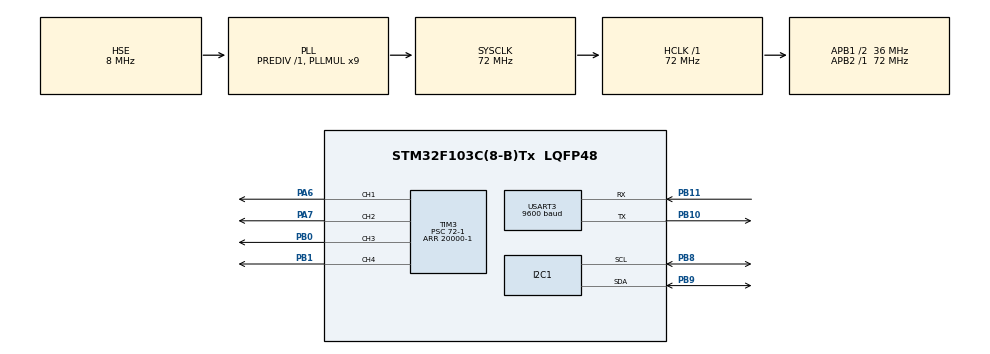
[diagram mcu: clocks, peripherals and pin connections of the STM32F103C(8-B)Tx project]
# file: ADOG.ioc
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Dma.Request0=USART3_TX
Dma.Request1=USART3_RX
Dma.USART3_RX.1.Direction=DMA_PERIPH_TO_MEMORY
Dma.USART3_RX.1.Instance=DMA1_Channel3
Dma.USART3_RX.1.MemDataAlignment=DMA_MDATAALIGN_BYTE
Dma.USART3_RX.1.MemInc=DMA_MINC_ENABLE
Dma.USART3_RX.1.Mode=DMA_NORMAL
Dma.USART3_RX.1.PeriphDataAlignment=DMA_PDATAALIGN_BYTE
Dma.USART3_RX.1.PeriphInc=DMA_PINC_DISABLE
Dma.USART3_RX.1.Priority=DMA_PRIORITY_LOW
Dma.USART3_TX.0.Direction=DMA_MEMORY_TO_PERIPH
Dma.USART3_TX.0.Instance=DMA1_Channel2
Dma.USART3_TX.0.MemDataAlignment=DMA_MDATAALIGN_BYTE
Dma.USART3_TX.0.MemInc=DMA_MINC_ENABLE
Dma.USART3_TX.0.Mode=DMA_NORMAL
Dma.USART3_TX.0.PeriphDataAlignment=DMA_PDATAALIGN_BYTE
Dma.USART3_TX.0.PeriphInc=DMA_PINC_DISABLE
Dma.USART3_TX.0.Priority=DMA_PRIORITY_LOW
I2C1.I2C_Mode=I2C_Fast
Mcu.Family=STM32F1
Mcu.Name=STM32F103C(8-B)Tx
Mcu.Package=LQFP48
NVIC.DMA1_Channel2_IRQn=true\:0\:0\:false\:false\:true\:false\:true\:true
NVIC.DMA1_Channel3_IRQn=true\:0\:0\:false\:false\:true\:false\:true\:true
NVIC.PriorityGroup=NVIC_PRIORITYGROUP_4
NVIC.USART3_IRQn=true\:0\:0\:false\:false\:true\:true\:true\:true
PA13.Mode=Serial_Wire
PA13.Signal=SYS_JTMS-SWDIO
PA14.Mode=Serial_Wire
PA14.Signal=SYS_JTCK-SWCLK
PA6.Signal=S_TIM3_CH1
PA7.Signal=S_TIM3_CH2
PB0.Signal=S_TIM3_CH3
PB1.Signal=S_TIM3_CH4
PB10.Mode=Asynchronous
PB10.Signal=USART3_TX
PB11.Mode=Asynchronous
PB11.Signal=USART3_RX
PB8.Mode=I2C
PB8.Signal=I2C1_SCL
PB9.Mode=I2C
PB9.Signal=I2C1_SDA
PD0-OSC_IN.Mode=HSE-External-Oscillator
PD0-OSC_IN.Signal=RCC_OSC_IN
PD1-OSC_OUT.Mode=HSE-External-Oscillator
PD1-OSC_OUT.Signal=RCC_OSC_OUT
ProjectManager.HeapSize=0x200
ProjectManager.StackSize=0x400
ProjectManager.TargetToolchain=STM32CubeIDE
RCC.AHBFreq_Value=72000000
RCC.APB1CLKDivider=RCC_HCLK_DIV2
RCC.APB1Freq_Value=36000000
RCC.APB1TimFreq_Value=72000000
RCC.APB2Freq_Value=72000000
RCC.APB2TimFreq_Value=72000000
RCC.HCLKFreq_Value=72000000
RCC.PLLMUL=RCC_PLL_MUL9
RCC.PLLSourceVirtual=RCC_PLLSOURCE_HSE
RCC.SYSCLKFreq_VALUE=72000000
RCC.SYSCLKSource=RCC_SYSCLKSOURCE_PLLCLK
RCC.USBFreq_Value=72000000
SH.S_TIM3_CH1.0=TIM3_CH1,PWM Generation1 CH1
SH.S_TIM3_CH2.0=TIM3_CH2,PWM Generation2 CH2
SH.S_TIM3_CH3.0=TIM3_CH3,PWM Generation3 CH3
SH.S_TIM3_CH4.0=TIM3_CH4,PWM Generation4 CH4
TIM3.Channel-PWM\ Generation1\ CH1=TIM_CHANNEL_1
TIM3.Channel-PWM\ Generation2\ CH2=TIM_CHANNEL_2
TIM3.Channel-PWM\ Generation3\ CH3=TIM_CHANNEL_3
TIM3.Channel-PWM\ Generation4\ CH4=TIM_CHANNEL_4
TIM3.Period=20000-1
TIM3.Prescaler=72-1
TIM3.Pulse-PWM\ Generation1\ CH1=0
USART3.BaudRate=9600
USART3.VirtualMode=VM_ASYNC
VP_TIM3_VS_ClockSourceINT.Mode=Internal
VP_TIM4_VS_OPM.Mode=OPM_bit
board=custom

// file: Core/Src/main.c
/* USER CODE BEGIN Header */
/**
 ******************************************************************************
 * @file           : main.c
 * @brief          : Main program body
 ******************************************************************************
 * @attention
 *
 * Copyright (c) 2022 STMicroelectronics.
 * All rights reserved.
 *
 * This software is licensed under terms that can be found in the LICENSE file
 * in the root directory of this software component.
 * If no LICENSE file comes with this software, it is provided AS-IS.
 *
 ******************************************************************************
 */
/* USER CODE END Header */
#include "main.h"
#include "dma.h"
#include "i2c.h"
#include "tim.h"
#include "usart.h"
#include "gpio.h"

/* USER CODE BEGIN Includes */
#include "string.h"
#include "oled.h"
#include "OLED_Data.h"
#include "stdio.h"
#include "Movement.h"
#include "Servo.h"
#include "PWM_HAL.h"
#include "Serial_HAL.h"
#include "LED.h"
#include "OLED_Data.h"
#include "mode.h"
#include "Timer_HAL.h"
#include "Hongwai.h"
#include "usart2_hal.h"
#include "usart_hal.h"
#include "UltrasonicWave.h"
#include "syn6288.h"
#include "stdlib.h"
/* USER CODE END Includes */

/* USER CODE BEGIN PTD */

	  uint8_t RxData;			//串口接收数据临时存储变量
	  uint8_t move_mode1 = '0';//遥控器串口接收的模式变量
	  uint8_t move_mode3 = '0';//语音识别串口接收的模式变量
	  uint8_t move_mode = '0';//当前状态模式变量
	  uint8_t previous_mode = '0';//当前模式的上一个模式变量
	   uint16_t T=100; // 超声波距离 距离值对应10cm(单位厘米)
	  uint16_t bz_flag;//避障标志位 ON/OFF 默认为off
	  uint16_t hw_flag;//红外检测标志位 ON/OFF 默认为off
	  int happiness; //快乐指数
	  int stamina;  //体力值
	  uint8_t t1=0 ; //存储红外检测结果 前
	  uint8_t t2=0 ; //存储红外检测结果 后
	  uint8_t t3=0 ; //存储红外检测结果 左
	  uint8_t t4=0 ; //存储红外检测结果 右
	  uint16_t ff=0; //前进前腿摆动角度
	  uint16_t bb=0; //前进后腿摆动角度
	  uint16_t ll=0; //左转摆动角度
	  uint16_t rr=0; //右转摆动角度
/* USER CODE END PTD */

/* USER CODE BEGIN PV */
// 不需要在这里为每个图像定义结构体了，已经在OLED_Data.h中声明好了
/* USER CODE END PV */

void SystemClock_Config(void);

int main(void)
{

  /* MCU Configuration--------------------------------------------------------*/

  /* Reset of all peripherals, Initializes the Flash interface and the Systick. */
  HAL_Init();

  /* Configure the system clock */
  SystemClock_Config();

  /* Initialize all configured peripherals */
  MX_GPIO_Init();
  MX_DMA_Init();
  MX_I2C1_Init();
  MX_TIM3_Init();
  MX_TIM4_Init();
  MX_USART3_UART_Init();
  /* USER CODE BEGIN 2 */
  HAL_TIM_PWM_Start(&htim3,TIM_CHANNEL_1);
  HAL_TIM_PWM_Start(&htim3,TIM_CHANNEL_2);
  HAL_TIM_PWM_Start(&htim3,TIM_CHANNEL_3);
  HAL_TIM_PWM_Start(&htim3,TIM_CHANNEL_4);
  HAL_Delay(200); // 单片机启动比OLED上电快,需要延迟等待一下*/
  OLED_Init();
  PWM_Init();
  Serial_Init();
  LED_Init();
  hongwai_init();
  Servo_Init();
  USART2_Init();

	// 机器人初始化为站立姿态
	move_stand();

	happiness=200;//初始快乐指数
	stamina=500;//初始体力值
	bz_flag=0;//避障标志位 ON/OFF 默认为off
	hw_flag=0;//红外检测标志位 ON/OFF 默认为off
	/*开机默认状态*/
	  OLED_NewFrame();

	  // 1. 使用新添加的OLED_DrawImageInverted函数显示BMP1图像（上下倒置）
	  // 该函数用于解决OLED屏幕倒置的问题
	  OLED_DrawImageInverted(0, 0, &BMP1_Image, OLED_COLOR_NORMAL);

	  // 2. BMP1_Image结构体已经在OLED_Data.h中声明，在OLED_Data.c中定义
	  //    无需在main.c中重复定义

	  /*OLED_PrintString(0, 22, "Servo Test", &font16x16, OLED_COLOR_NORMAL);*/
	 OLED_ShowFrame();
  /* USER CODE END 2 */

  /* Infinite loop */
  /* USER CODE BEGIN WHILE */
  while (1)
  {

	  // 示例：若实际使用的是无符号字符型
	  if(stamina>0)//体力值大于0时正常执行动作
	  	{
	  		move_mode1 = USART1_GetRxData();		//获取遥控器串口接收到的模式
	  		move_mode3 = USART3_GetRxData();		//获取语音识别串口接收到的模式
	  		if (USART1_GetRxFlag()) {//当遥控器串口接收到数据时，使用遥控器模式
	  			move_mode = move_mode1;
	  		}
	  		else if (USART3_GetRxFlag()){
	  			move_mode = move_mode3;
	  		}
	  	}
	  		if(stamina<0)//体力值小于0时执行难受状态
	  	{
	  		mode_nanshou();
	  		stamina=0;
	  	}
	  		if(stamina==0)//体力值为0时只能执行睡觉指令
	  	{
	  		if(USART1_GetRxData()=='2'|USART3_GetRxData()=='2')
	  		{mode_sleepwo();}
	  		else if(USART1_GetRxData()=='p'|USART3_GetRxData()=='p')
	  		{mode_sleeppa();}
	  	}
	  		if(stamina>500)//体力值超过最大值500
	  		{stamina=500;}

	  		if(happiness<0){//快乐值小于0时执行难受状态，当快乐值或体力值为0时执行难受状态
	  		happiness=0;
	  		mode_nanshou();
	  		}
	  		if(happiness>200)//快乐值超过最大值200
	  		{happiness=200;}

	  		//***红外检测功能实现模块***//
	  		if(move_mode == 'H') //红外开
	  		{hw_flag=1;}
	  		if(move_mode == 'h') //红外关
	  		{hw_flag=0;
	  			//关闭红外检测时清除检测结果
	  			t1=0;t2=0;t3=0;t4=0;
	  		}
	  		if(hw_flag){
	  			Edge_detect();//开启红外检测功能
	  		}

	  	   //***避障模式功能模块***//
	  		if(move_mode == 'x') //避障开
	  		{
	  			bz_flag=1;
	  		}
	  		if(move_mode == 'c') //避障关
	  		{
	  			bz_flag=0;
	  			T=100;
	  		}
	  		if(bz_flag){
	  		Bizhang();//开启避障模式
	  		}

	  		//***运动模式功能模块***//
	  		if (move_mode == 'f') { //前进
	  			mode_forward();
	  		} else if (move_mode == 'b') { //后退
	  			mode_behind();
	  		} else if (move_mode == 'l') { //左转
	  			mode_left();
	  		} else if (move_mode == 'r') { //右转
	  			mode_right();
	  		} else if (move_mode == 'w') { //前后摇摆
	  			mode_swing_qianhou();
	  		} else if (move_mode == 'z') { //左右摇摆
	  			mode_swing_zuoyou();
	  		} else if (move_mode == 'd') { //跳舞
	  			mode_dance();
	  		} else if (move_mode == '5') { //站立
	  			mode_stand();
	  		} else if (move_mode == 'q' && previous_mode != '0') { //慢站立
	  			mode_slowstand();
	  		} else if (move_mode == 's' && previous_mode != 's') { //伸展
	  			mode_strech();
	  		} else if (move_mode == 'j') { //双手投降
	  			mode_twohands();
	  		} else if (move_mode == 'y') { //懒腰
	  			mode_lanyao();
	  		} else if (move_mode == '1') { //抬头
	  			mode_headup();
	  		} else if (move_mode == 'p' && previous_mode != 'p') { //趴着睡觉
	  			mode_sleeppa();
	  		} else if (move_mode == '2' && previous_mode != '2') { //躺着睡觉
	  			mode_sleepwo();
	  		} else if (move_mode == 'n') { //难受
	  			mode_nanshou();
	  		} else if (move_mode == 'B') { //表白
	  			mode_biaobai();
	  		} else if (move_mode == 'Y') { //元素战技
	  			mode_yuansu();
	  		} else if (move_mode == 'X') { //训练
	  			mode_xiaoxun();
	  		} else if (move_mode == 'W') { //世界之巅
	  			mode_world();
	  		} else if (move_mode == 'o') { //打招呼
	  			mode_hello();
	  		} else if (move_mode == 'U') { //跟随小代
	  			mode_xiaodai();
	  		} else if (move_mode == 'K') { //展示快乐值
	  			mode_happiness();
	  		} else if (move_mode == 'T') { //展示体力值
	  			mode_stamina();
	  		} else if (move_mode == 'Z') { //展示快乐值和体力值
	  			mode_index();
	  		}

	  // 如果OLED正常工作，可以显示简单信息表示程序运行中

    /* USER CODE END WHILE */

  }
}

void SystemClock_Config(void)
{
  RCC_OscInitTypeDef RCC_OscInitStruct = {0};
  RCC_ClkInitTypeDef RCC_ClkInitStruct = {0};

  /** Initializes the RCC Oscillators according to the specified parameters
  * in the RCC_OscInitTypeDef structure.
  */
  RCC_OscInitStruct.OscillatorType = RCC_OSCILLATORTYPE_HSE;
  RCC_OscInitStruct.HSEState = RCC_HSE_ON;
  RCC_OscInitStruct.HSEPredivValue = RCC_HSE_PREDIV_DIV1;
  RCC_OscInitStruct.HSIState = RCC_HSI_ON;
  RCC_OscInitStruct.PLL.PLLState = RCC_PLL_ON;
  RCC_OscInitStruct.PLL.PLLSource = RCC_PLLSOURCE_HSE;
  RCC_OscInitStruct.PLL.PLLMUL = RCC_PLL_MUL9;
  if (HAL_RCC_OscConfig(&RCC_OscInitStruct) != HAL_OK)
  {
    Error_Handler();
  }

  /** Initializes the CPU, AHB and APB buses clocks
  */
  RCC_ClkInitStruct.ClockType = RCC_CLOCKTYPE_HCLK|RCC_CLOCKTYPE_SYSCLK
                              |RCC_CLOCKTYPE_PCLK1|RCC_CLOCKTYPE_PCLK2;
  RCC_ClkInitStruct.SYSCLKSource = RCC_SYSCLKSOURCE_PLLCLK;
  RCC_ClkInitStruct.AHBCLKDivider = RCC_SYSCLK_DIV1;
  RCC_ClkInitStruct.APB1CLKDivider = RCC_HCLK_DIV2;
  RCC_ClkInitStruct.APB2CLKDivider = RCC_HCLK_DIV1;

  if (HAL_RCC_ClockConfig(&RCC_ClkInitStruct, FLASH_LATENCY_2) != HAL_OK)
  {
    Error_Handler();
  }
}

void Error_Handler(void)
{
  __disable_irq();
  while (1)
  {
  }
}
